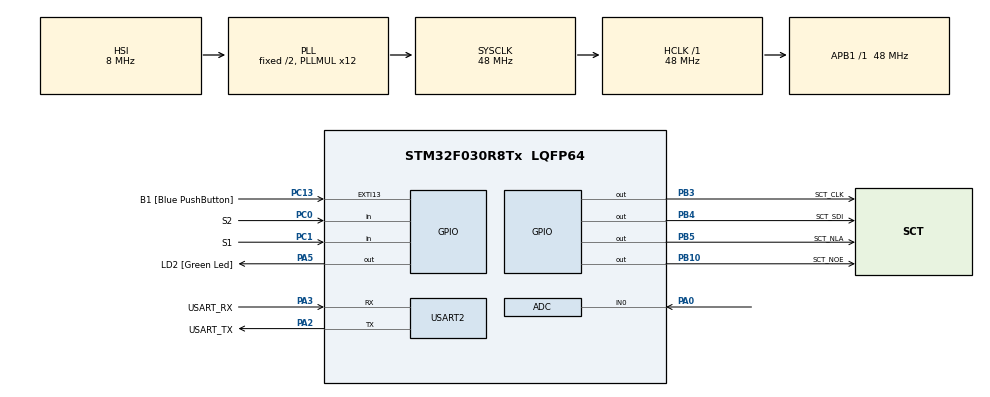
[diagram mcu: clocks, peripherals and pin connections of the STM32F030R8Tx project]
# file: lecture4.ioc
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ADC.ContinuousConvMode=ENABLE
ADC.Overrun=ADC_OVR_DATA_OVERWRITTEN
ADC.SamplingTime=ADC_SAMPLETIME_239CYCLES_5
Mcu.Family=STM32F0
Mcu.Name=STM32F030R8Tx
Mcu.Package=LQFP64
NVIC.ADC1_IRQn=true\:0\:0\:false\:false\:true\:true\:true\:true
PA0.Mode=IN0
PA0.Signal=ADC_IN0
PA13.GPIO_Label=TMS
PA13.Mode=Serial_Wire
PA13.Signal=SYS_SWDIO
PA14.GPIO_Label=TCK
PA14.Mode=Serial_Wire
PA14.Signal=SYS_SWCLK
PA2.GPIO_Label=USART_TX
PA2.GPIO_Mode=GPIO_MODE_AF_PP
PA2.GPIO_PuPd=GPIO_NOPULL
PA2.GPIO_Speed=GPIO_SPEED_FREQ_LOW
PA2.Mode=Asynchronous
PA2.Signal=USART2_TX
PA3.GPIO_Label=USART_RX
PA3.GPIO_Mode=GPIO_MODE_AF_PP
PA3.GPIO_PuPd=GPIO_NOPULL
PA3.GPIO_Speed=GPIO_SPEED_FREQ_LOW
PA3.Mode=Asynchronous
PA3.Signal=USART2_RX
PA5.GPIO_Label=LD2 [Green Led]
PA5.GPIO_Mode=GPIO_MODE_OUTPUT_PP
PA5.GPIO_PuPd=GPIO_NOPULL
PA5.GPIO_Speed=GPIO_SPEED_FREQ_LOW
PA5.Signal=GPIO_Output
PB10.GPIO_Label=SCT_NOE
PB10.Signal=GPIO_Output
PB3.GPIO_Label=SCT_CLK
PB3.Signal=GPIO_Output
PB4.GPIO_Label=SCT_SDI
PB4.Signal=GPIO_Output
PB5.GPIO_Label=SCT_NLA
PB5.Signal=GPIO_Output
PC0.GPIO_Label=S2
PC0.GPIO_PuPd=GPIO_PULLUP
PC0.Signal=GPIO_Input
PC1.GPIO_Label=S1
PC1.GPIO_PuPd=GPIO_PULLUP
PC1.Signal=GPIO_Input
PC13.GPIO_Label=B1 [Blue PushButton]
PC13.GPIO_ModeDefaultEXTI=GPIO_MODE_IT_FALLING
PC13.Signal=GPXTI13
PC14-OSC32_IN.Mode=LSE-External-Oscillator
PC14-OSC32_IN.Signal=RCC_OSC32_IN
PC15-OSC32_OUT.Mode=LSE-External-Oscillator
PC15-OSC32_OUT.Signal=RCC_OSC32_OUT
PF0-OSC_IN.Mode=HSE-External-Clock-Source
PF0-OSC_IN.Signal=RCC_OSC_IN
PF1-OSC_OUT.Signal=RCC_OSC_OUT
ProjectManager.HeapSize=0x200
ProjectManager.StackSize=0x400
ProjectManager.TargetToolchain=STM32CubeIDE
RCC.AHBFreq_Value=48000000
RCC.APB1Freq_Value=48000000
RCC.APB1TimFreq_Value=48000000
RCC.HCLKFreq_Value=48000000
RCC.PLLMUL=RCC_PLL_MUL12
RCC.SYSCLKFreq_VALUE=48000000
RCC.SYSCLKSource=RCC_SYSCLKSOURCE_PLLCLK
USART2.VirtualMode-Asynchronous=VM_ASYNC
VP_ADC_TempSens_Input.Mode=IN-TempSens
VP_ADC_Vref_Input.Mode=IN-Vrefint
board=NUCLEO-F030R8

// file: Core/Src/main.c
/* USER CODE BEGIN Header */
/**
 ******************************************************************************
 * @file           : main.c
 * @brief          : Main program body
 ******************************************************************************
 * @attention
 *
 * Copyright (c) 2024 STMicroelectronics.
 * All rights reserved.
 *
 * This software is licensed under terms that can be found in the LICENSE file
 * in the root directory of this software component.
 * If no LICENSE file comes with this software, it is provided AS-IS.
 *
 ******************************************************************************
 */
/* USER CODE END Header */
#include "main.h"

/* USER CODE BEGIN Includes */
#include "sct.h"
/* USER CODE END Includes */

/* USER CODE BEGIN PD */
/* Exponential smoothing register length  */
#define ADC_Q 12
/* Temperature sensor calibration value address */
#define TEMP110_CAL_ADDR ((uint16_t*) ((uint32_t) 0x1FFFF7C2))
#define TEMP30_CAL_ADDR ((uint16_t*) ((uint32_t) 0x1FFFF7B8))
/* Internal voltage reference calibration value address */
#define VREFINT_CAL_ADDR ((uint16_t*) ((uint32_t) 0x1FFFF7BA))
/* USER CODE END PD */

ADC_HandleTypeDef hadc;

UART_HandleTypeDef huart2;

/* USER CODE BEGIN PV */
static volatile uint32_t raw_pot, raw_temp, raw_volt, time;
/* USER CODE END PV */

void SystemClock_Config(void);
static void MX_GPIO_Init(void);
static void MX_USART2_UART_Init(void);
static void MX_ADC_Init(void);

/* USER CODE BEGIN 0 */
void HAL_ADC_ConvCpltCallback(ADC_HandleTypeDef *hadc){
	static uint32_t avg_pot, channel;

	if (channel == 0) {
		// reading ADC value from 0 to 4095 value
		// raw_pot = HAL_ADC_GetValue(hadc);
		// averaging the value from ADC to smooth it
		raw_pot = avg_pot >> ADC_Q;
		avg_pot -= raw_pot;
		avg_pot += HAL_ADC_GetValue(hadc);
	} else if (channel == 1) {
		raw_temp = HAL_ADC_GetValue(hadc);
	} else if (channel == 2) {
		raw_volt = HAL_ADC_GetValue(hadc);
	}

	// Kontrola, zda byl dosazen konec konverze ADC (EOS)
	if (__HAL_ADC_GET_FLAG(hadc, ADC_FLAG_EOS)) channel = 0;
	else channel++;

}

/* USER CODE END 0 */

int main(void)
{

	/* MCU Configuration--------------------------------------------------------*/

	/* Reset of all peripherals, Initializes the Flash interface and the Systick. */
	HAL_Init();

	/* Configure the system clock */
	SystemClock_Config();

	/* Initialize all configured peripherals */
	MX_GPIO_Init();
	MX_USART2_UART_Init();
	MX_ADC_Init();
	/* USER CODE BEGIN 2 */
	sct_init();
	HAL_ADCEx_Calibration_Start(&hadc);
	HAL_ADC_Start_IT(&hadc);
	/* USER CODE END 2 */

	/* Infinite loop */
	/* USER CODE BEGIN WHILE */
	while (1)
	{
		/*
	// showing voltage when S1 hold, temperature when S2 hold, pot value when nothing held
	if (HAL_GPIO_ReadPin(S1_GPIO_Port, S1_Pin)!=1){
		 uint32_t voltage = 330 * (*VREFINT_CAL_ADDR) / raw_volt;
		 sct_value(voltage, 1);
	}else if (HAL_GPIO_ReadPin(S2_GPIO_Port, S2_Pin)!=1){
		int32_t temperature = (raw_temp - (int32_t)(*TEMP30_CAL_ADDR));
		temperature = temperature * (int32_t)(110 - 30);
		temperature = temperature / (int32_t)(*TEMP110_CAL_ADDR - *TEMP30_CAL_ADDR);
		temperature = temperature + 30;
		sct_value(temperature, 2);
	} else {
		// printing pot value from 0 to 500 + bargraph it on LEDs
		sct_value(raw_pot * 501 / 4095 , raw_pot * 9 / 4095);
	}

		 */

		static enum { SHOW_POT, SHOW_VOLT, SHOW_TEMP } state = SHOW_POT;
		if (HAL_GPIO_ReadPin(S1_GPIO_Port, S1_Pin) != 1 ){
			state = SHOW_VOLT; // Prepnuti do stavu zobrazovani napeti
			time=HAL_GetTick(); // Ulozeni aktualniho casu
		} else 	if (HAL_GPIO_ReadPin(S2_GPIO_Port, S2_Pin) != 1 ){
			state = SHOW_TEMP;
			time=HAL_GetTick();
		}

		if (state == SHOW_POT ) {
			// printing pot value from 0 to 500 + bargraph it on LEDs
			sct_value(raw_pot * 501 / 4095 , raw_pot * 9 / 4095 );
		}
		if (state == SHOW_VOLT ) {
			uint32_t voltage = 330 * (*VREFINT_CAL_ADDR) / raw_volt;
			sct_value(voltage, raw_volt*9/4095 );
		}
		if (state == SHOW_TEMP ) {
			int32_t temperature = (raw_temp - (int32_t)(*TEMP30_CAL_ADDR));
			temperature = temperature * (int32_t)(110 - 30);
			temperature = temperature / (int32_t)(*TEMP110_CAL_ADDR - *TEMP30_CAL_ADDR);
			temperature = temperature + 30;
			sct_value(temperature, raw_temp*9/4095);
		}

		// Automaticke vraceni do stavu SHOW_POT po 1 sekunde
		if (HAL_GetTick() >= time+1000) state = SHOW_POT;
		HAL_Delay(50);

		/* USER CODE END WHILE */

	}
}

void SystemClock_Config(void)
{
	RCC_OscInitTypeDef RCC_OscInitStruct = {0};
	RCC_ClkInitTypeDef RCC_ClkInitStruct = {0};

	/** Initializes the RCC Oscillators according to the specified parameters
	 * in the RCC_OscInitTypeDef structure.
	 */
	RCC_OscInitStruct.OscillatorType = RCC_OSCILLATORTYPE_HSI|RCC_OSCILLATORTYPE_HSI14;
	RCC_OscInitStruct.HSIState = RCC_HSI_ON;
	RCC_OscInitStruct.HSI14State = RCC_HSI14_ON;
	RCC_OscInitStruct.HSICalibrationValue = RCC_HSICALIBRATION_DEFAULT;
	RCC_OscInitStruct.HSI14CalibrationValue = 16;
	RCC_OscInitStruct.PLL.PLLState = RCC_PLL_ON;
	RCC_OscInitStruct.PLL.PLLSource = RCC_PLLSOURCE_HSI;
	RCC_OscInitStruct.PLL.PLLMUL = RCC_PLL_MUL12;
	RCC_OscInitStruct.PLL.PREDIV = RCC_PREDIV_DIV1;
	if (HAL_RCC_OscConfig(&RCC_OscInitStruct) != HAL_OK)
	{
		Error_Handler();
	}

	/** Initializes the CPU, AHB and APB buses clocks
	 */
	RCC_ClkInitStruct.ClockType = RCC_CLOCKTYPE_HCLK|RCC_CLOCKTYPE_SYSCLK
			|RCC_CLOCKTYPE_PCLK1;
	RCC_ClkInitStruct.SYSCLKSource = RCC_SYSCLKSOURCE_PLLCLK;
	RCC_ClkInitStruct.AHBCLKDivider = RCC_SYSCLK_DIV1;
	RCC_ClkInitStruct.APB1CLKDivider = RCC_HCLK_DIV1;

	if (HAL_RCC_ClockConfig(&RCC_ClkInitStruct, FLASH_LATENCY_1) != HAL_OK)
	{
		Error_Handler();
	}
}

static void MX_ADC_Init(void)
{

	ADC_ChannelConfTypeDef sConfig = {0};

	/** Configure the global features of the ADC (Clock, Resolution, Data Alignment and number of conversion)
	 */
	hadc.Instance = ADC1;
	hadc.Init.ClockPrescaler = ADC_CLOCK_ASYNC_DIV1;
	hadc.Init.Resolution = ADC_RESOLUTION_12B;
	hadc.Init.DataAlign = ADC_DATAALIGN_RIGHT;
	hadc.Init.ScanConvMode = ADC_SCAN_DIRECTION_FORWARD;
	hadc.Init.EOCSelection = ADC_EOC_SINGLE_CONV;
	hadc.Init.LowPowerAutoWait = DISABLE;
	hadc.Init.LowPowerAutoPowerOff = DISABLE;
	hadc.Init.ContinuousConvMode = ENABLE;
	hadc.Init.DiscontinuousConvMode = DISABLE;
	hadc.Init.ExternalTrigConv = ADC_SOFTWARE_START;
	hadc.Init.ExternalTrigConvEdge = ADC_EXTERNALTRIGCONVEDGE_NONE;
	hadc.Init.DMAContinuousRequests = DISABLE;
	hadc.Init.Overrun = ADC_OVR_DATA_OVERWRITTEN;
	if (HAL_ADC_Init(&hadc) != HAL_OK)
	{
		Error_Handler();
	}

	/** Configure for the selected ADC regular channel to be converted.
	 */
	sConfig.Channel = ADC_CHANNEL_0;
	sConfig.Rank = ADC_RANK_CHANNEL_NUMBER;
	sConfig.SamplingTime = ADC_SAMPLETIME_239CYCLES_5;
	if (HAL_ADC_ConfigChannel(&hadc, &sConfig) != HAL_OK)
	{
		Error_Handler();
	}

	/** Configure for the selected ADC regular channel to be converted.
	 */
	sConfig.Channel = ADC_CHANNEL_TEMPSENSOR;
	if (HAL_ADC_ConfigChannel(&hadc, &sConfig) != HAL_OK)
	{
		Error_Handler();
	}

	/** Configure for the selected ADC regular channel to be converted.
	 */
	sConfig.Channel = ADC_CHANNEL_VREFINT;
	if (HAL_ADC_ConfigChannel(&hadc, &sConfig) != HAL_OK)
	{
		Error_Handler();
	}

}

static void MX_USART2_UART_Init(void)
{

	huart2.Instance = USART2;
	huart2.Init.BaudRate = 38400;
	huart2.Init.WordLength = UART_WORDLENGTH_8B;
	huart2.Init.StopBits = UART_STOPBITS_1;
	huart2.Init.Parity = UART_PARITY_NONE;
	huart2.Init.Mode = UART_MODE_TX_RX;
	huart2.Init.HwFlowCtl = UART_HWCONTROL_NONE;
	huart2.Init.OverSampling = UART_OVERSAMPLING_16;
	huart2.Init.OneBitSampling = UART_ONE_BIT_SAMPLE_DISABLE;
	huart2.AdvancedInit.AdvFeatureInit = UART_ADVFEATURE_NO_INIT;
	if (HAL_UART_Init(&huart2) != HAL_OK)
	{
		Error_Handler();
	}

}

static void MX_GPIO_Init(void)
{
	GPIO_InitTypeDef GPIO_InitStruct = {0};

	/* GPIO Ports Clock Enable */
	__HAL_RCC_GPIOC_CLK_ENABLE();
	__HAL_RCC_GPIOF_CLK_ENABLE();
	__HAL_RCC_GPIOA_CLK_ENABLE();
	__HAL_RCC_GPIOB_CLK_ENABLE();

	/*Configure GPIO pin Output Level */
	HAL_GPIO_WritePin(LD2_GPIO_Port, LD2_Pin, GPIO_PIN_RESET);

	/*Configure GPIO pin Output Level */
	HAL_GPIO_WritePin(GPIOB, SCT_NOE_Pin|SCT_CLK_Pin|SCT_SDI_Pin|SCT_NLA_Pin, GPIO_PIN_RESET);

	/*Configure GPIO pin : B1_Pin */
	GPIO_InitStruct.Pin = B1_Pin;
	GPIO_InitStruct.Mode = GPIO_MODE_IT_FALLING;
	GPIO_InitStruct.Pull = GPIO_NOPULL;
	HAL_GPIO_Init(B1_GPIO_Port, &GPIO_InitStruct);

	/*Configure GPIO pins : S2_Pin S1_Pin */
	GPIO_InitStruct.Pin = S2_Pin|S1_Pin;
	GPIO_InitStruct.Mode = GPIO_MODE_INPUT;
	GPIO_InitStruct.Pull = GPIO_PULLUP;
	HAL_GPIO_Init(GPIOC, &GPIO_InitStruct);

	/*Configure GPIO pin : LD2_Pin */
	GPIO_InitStruct.Pin = LD2_Pin;
	GPIO_InitStruct.Mode = GPIO_MODE_OUTPUT_PP;
	GPIO_InitStruct.Pull = GPIO_NOPULL;
	GPIO_InitStruct.Speed = GPIO_SPEED_FREQ_LOW;
	HAL_GPIO_Init(LD2_GPIO_Port, &GPIO_InitStruct);

	/*Configure GPIO pins : SCT_NOE_Pin SCT_CLK_Pin SCT_SDI_Pin SCT_NLA_Pin */
	GPIO_InitStruct.Pin = SCT_NOE_Pin|SCT_CLK_Pin|SCT_SDI_Pin|SCT_NLA_Pin;
	GPIO_InitStruct.Mode = GPIO_MODE_OUTPUT_PP;
	GPIO_InitStruct.Pull = GPIO_NOPULL;
	GPIO_InitStruct.Speed = GPIO_SPEED_FREQ_LOW;
	HAL_GPIO_Init(GPIOB, &GPIO_InitStruct);

}

void Error_Handler(void)
{
	__disable_irq();
	while (1)
	{
	}
}
